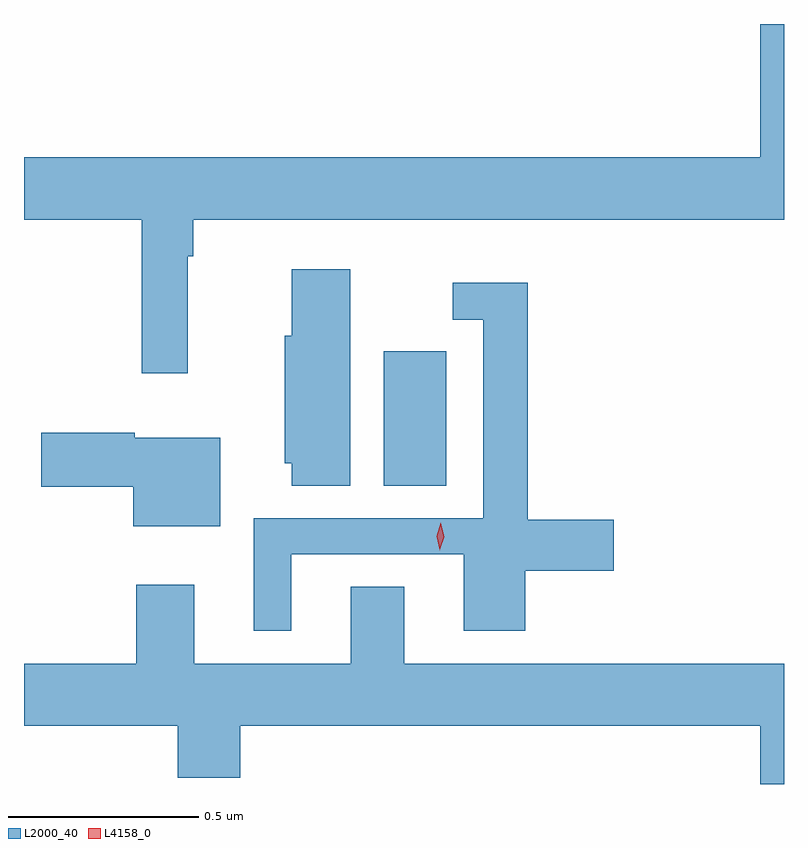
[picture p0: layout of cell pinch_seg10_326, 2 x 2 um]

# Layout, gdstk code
import gdstk
lib = gdstk.Library(unit=1e-6, precision=1e-09)
def R(c, l, rs):  # rectangles x0, y0, x1, y1
    for r in rs: c.add(gdstk.rectangle(r[:2], r[2:], *l))
def P(c, l, *ps):  # polygons
    for p in ps: c.add(gdstk.Polygon(p, *l))
L2000_40 = (2000, 40)
L4158_0 = (4158, 0)

pinch_seg10_326 = lib.new_cell('pinch_seg10_326')
R(pinch_seg10_326, L2000_40, [(403.778,1291.624,403.942,1291.978)])
P(pinch_seg10_326, L2000_40, [(403.262,1292.228),(403.277,1292.228),(403.277,1292.324),(404.831,1292.324),(404.831,1292.839),(404.768,1292.839),(404.768,1292.488),(402.831,1292.488),(402.831,1292.324),(403.141,1292.324),(403.141,1291.92),(403.262,1291.92)],
  [(403.69,1292.194),(403.535,1292.194),(403.535,1292.019),(403.517,1292.019),(403.517,1291.683),(403.535,1291.683),(403.535,1291.624),(403.69,1291.624)],
  [(403.534,1291.443),(403.988,1291.443),(403.988,1291.242),(404.15,1291.242),(404.15,1291.4),(404.383,1291.4),(404.383,1291.535),(404.156,1291.535),(404.156,1292.158),(403.959,1292.158),(403.959,1292.061),(404.04,1292.061),(404.04,1291.539),(403.436,1291.539),(403.436,1291.242),(403.534,1291.242)],
  [(403.348,1291.75),(403.122,1291.75),(403.122,1291.763),(402.876,1291.763),(402.876,1291.621),(403.118,1291.621),(403.118,1291.517),(403.348,1291.517)],
  [(404.831,1291.156),(403.831,1291.156),(403.831,1291.358),(403.691,1291.358),(403.691,1291.156),(403.279,1291.156),(403.279,1291.363),(403.127,1291.363),(403.127,1291.156),(402.831,1291.156),(402.831,1290.992),(403.235,1290.992),(403.235,1290.856),(403.4,1290.856),(403.4,1290.992),(404.768,1290.992),(404.768,1290.839),(404.831,1290.839)])
P(pinch_seg10_326, L4158_0, [(403.925,1291.454),(403.925,1291.455),(403.917,1291.491),(403.928,1291.526),(403.928,1291.527),(403.928,1291.526),(403.937,1291.49),(403.925,1291.455)])

lib.write_gds('pinch_seg10_326.gds')
